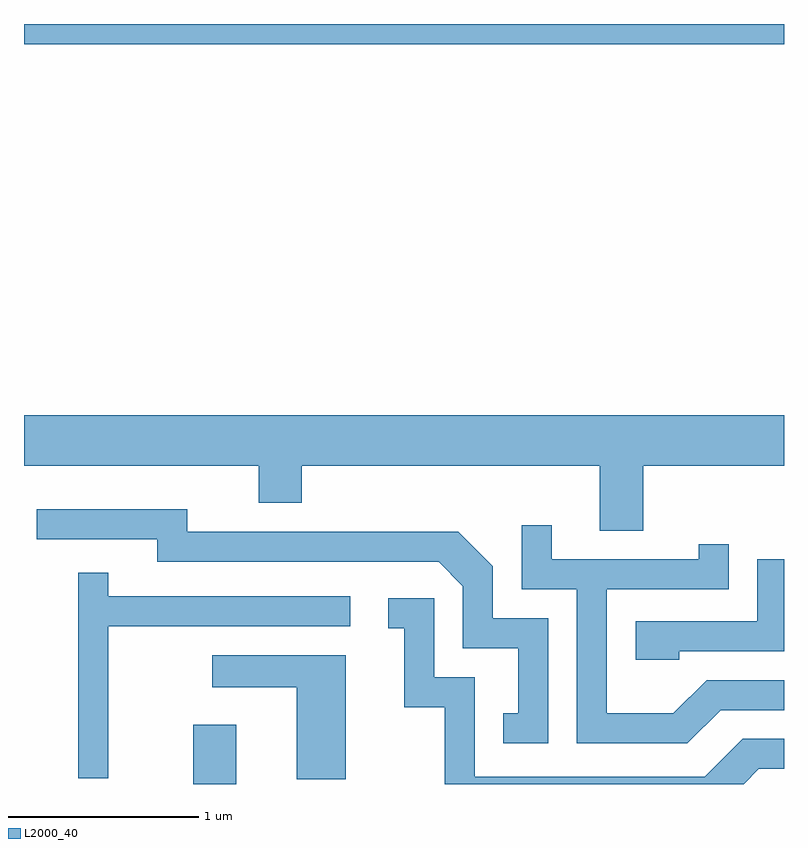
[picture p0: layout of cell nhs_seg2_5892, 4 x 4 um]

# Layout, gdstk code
import gdstk
lib = gdstk.Library(unit=1e-6, precision=1e-09)
def R(c, l, rs):  # rectangles x0, y0, x1, y1
    for r in rs: c.add(gdstk.rectangle(r[:2], r[2:], *l))
def P(c, l, *ps):  # polygons
    for p in ps: c.add(gdstk.Polygon(p, *l))
L2000_40 = (2000, 40)

nhs_seg2_5892 = lib.new_cell('nhs_seg2_5892')
R(nhs_seg2_5892, L2000_40, [(360.501,997.802,360.729,998.114), (359.611,1001.696,363.611,1001.802)])
P(nhs_seg2_5892, L2000_40, [(362.869,999.476),(363.611,999.476),(363.611,999.744),(359.611,999.744),(359.611,999.476),(360.846,999.476),(360.846,999.281),(361.074,999.281),(361.074,999.476),(362.641,999.476),(362.641,999.136),(362.869,999.136)],
  [(362.369,998.674),(362.079,998.674),(362.079,998.947),(361.897,999.129),(360.469,999.129),(360.469,999.249),(359.678,999.249),(359.678,999.091),(360.311,999.091),(360.311,998.971),(361.794,998.971),(361.921,998.844),(361.921,998.516),(362.211,998.516),(362.211,998.174),(362.133,998.174),(362.133,998.016),(362.369,998.016)],
  [(363.277,998.191),(363.611,998.191),(363.611,998.349),(363.204,998.349),(363.029,998.174),(362.679,998.174),(362.679,998.826),(363.319,998.826),(363.319,999.063),(363.161,999.063),(363.161,998.984),(362.389,998.984),(362.389,999.163),(362.231,999.163),(362.231,998.826),(362.521,998.826),(362.521,998.016),(363.102,998.016)],
  [(363.059,998.501),(363.611,998.501),(363.611,998.984),(363.471,998.984),(363.471,998.659),(362.831,998.659),(362.831,998.456),(363.059,998.456)],
  [(360.054,998.631),(361.328,998.631),(361.328,998.789),(360.054,998.789),(360.054,998.913),(359.896,998.913),(359.896,997.833),(360.054,997.833)],
  [(363.477,997.881),(363.611,997.881),(363.611,998.039),(363.394,998.039),(363.194,997.839),(361.984,997.839),(361.984,998.364),(361.769,998.364),(361.769,998.779),(361.528,998.779),(361.528,998.621),(361.611,998.621),(361.611,998.206),(361.826,998.206),(361.826,997.802),(363.398,997.802)],
  [(361.304,998.479),(360.603,998.479),(360.603,998.311),(361.046,998.311),(361.046,997.826),(361.304,997.826)])

lib.write_gds('nhs_seg2_5892.gds')
